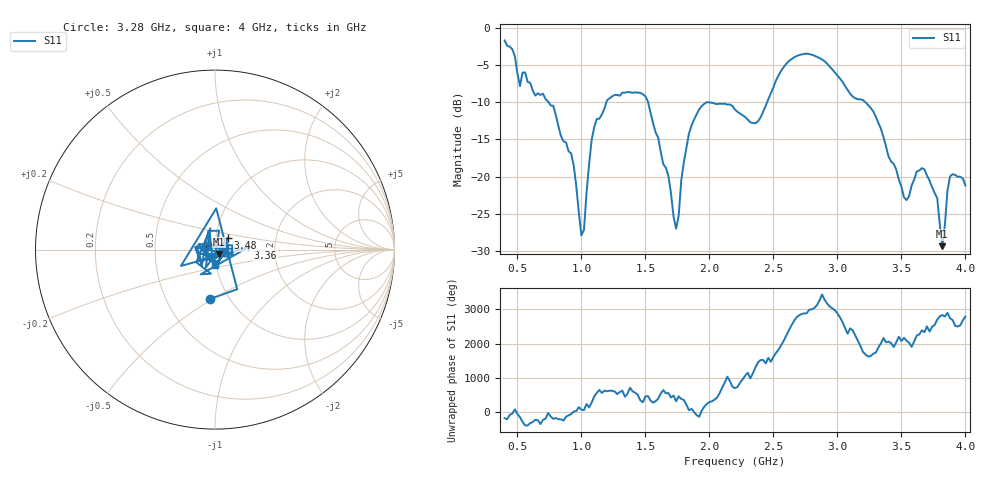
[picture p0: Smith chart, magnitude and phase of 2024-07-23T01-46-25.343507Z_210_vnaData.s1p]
!Created with skrf (http://scikit-rf.org).
# Hz S RI R 50.0
!freq ReS11 ImS11
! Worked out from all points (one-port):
!   181 points, 400 MHz to 4 GHz, reference 50 ohm
!   lowest |S11| = -29.4 dB at 3.82 GHz (marker M1), VSWR 1.07, Z = 52.4 - j2.54 ohm
!   |S11| at or under -10 dB: 744.1 MHz to 1.195 GHz (450.9 MHz wide, 46.5 % of centre); 1.995 GHz to 2.451 GHz (455.9 MHz wide, 20.5 % of centre); 3.22 GHz to end of sweep (the widest 3 of 4)
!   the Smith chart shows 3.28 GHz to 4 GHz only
!   S11 on the Smith chart (normalised r, x): 3.28 GHz: 0.82, -0.49; 3.36 GHz: 1.45, +0.04; 3.48 GHz: 1.14, +0.15; 4 GHz: 0.98, -0.17
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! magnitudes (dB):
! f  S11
! 400 MHz  -1.7
! 520 MHz  -7.8
! 560 MHz  -6.0
! 780 MHz  -10.5
! 860 MHz  -15.2
! 940 MHz  -18.5
! 1 GHz  -27.9
! 1.1 GHz  -13.4
! 1.3 GHz  -9.1
! 1.5 GHz  -9.2
! 1.68 GHz  -19.9
! 1.74 GHz  -27.0
! 1.76 GHz  -25.3
! 1.84 GHz  -14.2
! 1.92 GHz  -10.9
! 2.2 GHz  -11.0
! 2.38 GHz  -12.5
! 2.66 GHz  -3.9
! 3.1 GHz  -8.8
! 3.28 GHz  -11.2
! 3.36 GHz  -14.7
! 3.48 GHz  -20.4
! 3.56 GHz  -22.6
! 3.68 GHz  -19.0
! 3.78 GHz  -22.9
! 3.82 GHz  -29.4
! 3.88 GHz  -20.0
! 4 GHz  -21.2
